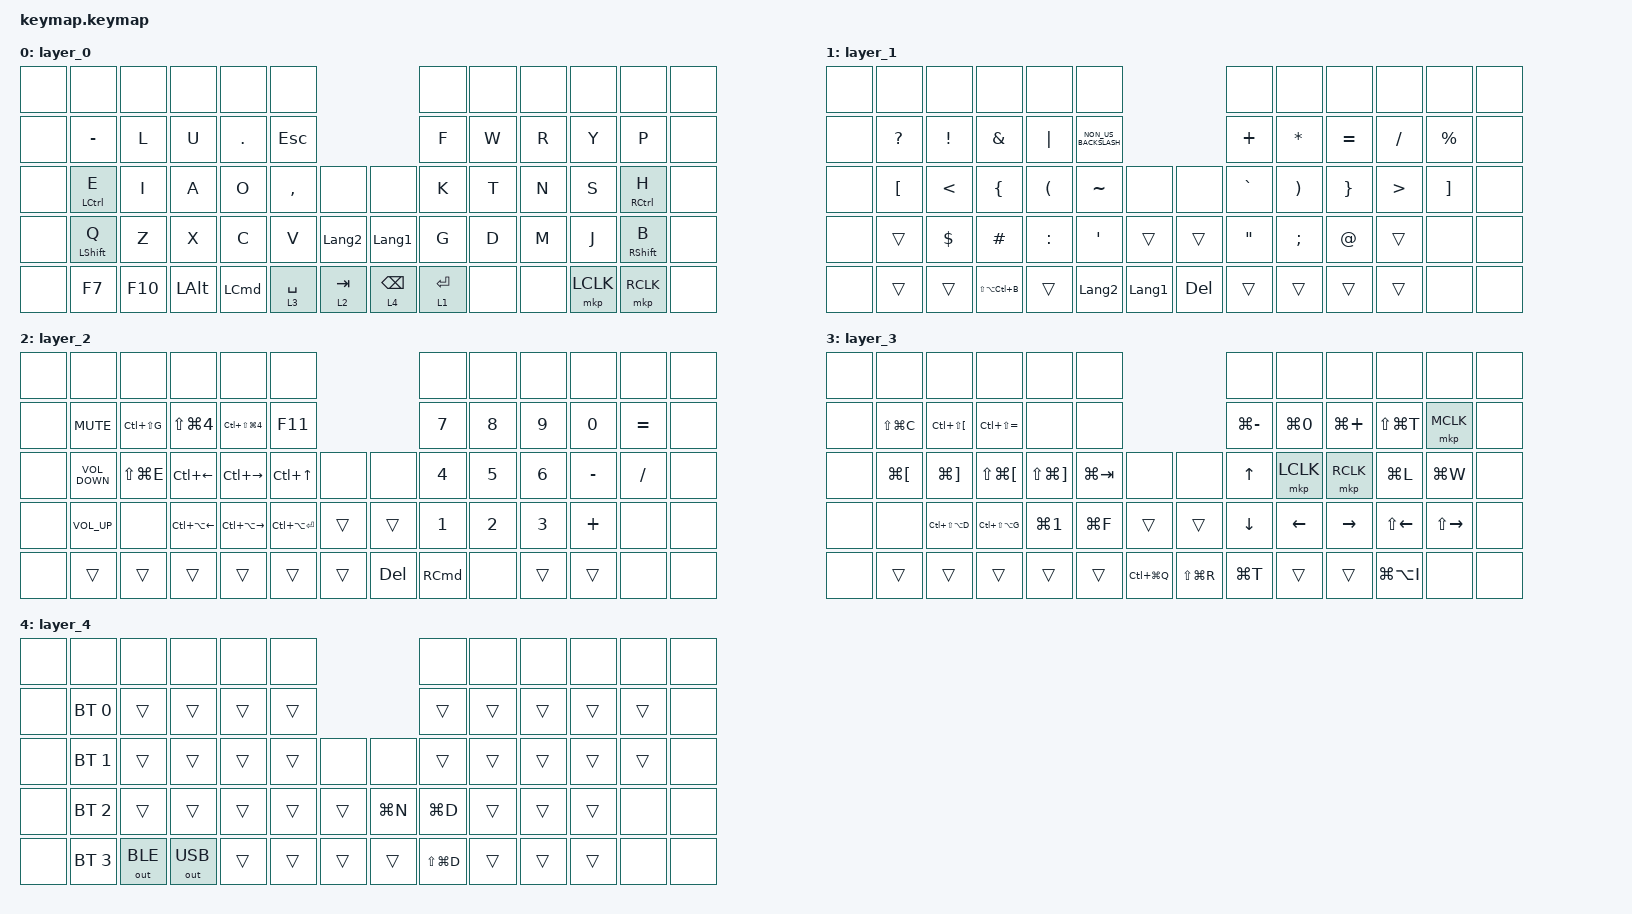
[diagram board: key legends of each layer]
#include <behaviors.dtsi>
#include <dt-bindings/zmk/bt.h>
#include <dt-bindings/zmk/keys.h>
#include <dt-bindings/zmk/outputs.h>
#include <dt-bindings/zmk/pointing.h>

/ {
    behaviors {
        mt: mod_tap {
            compatible = "zmk,behavior-hold-tap";
            #binding-cells = <2>;
            tapping-term-ms = <200>;
            flavor = "balanced";
            quick-tap-ms = <175>;
            require-prior-idle-ms = <150>;
            bindings = <&kp>, <&kp>;
        };
    };

combos {
        compatible = "zmk,combos";

        bt_clear {
            bindings = <&bt BT_CLR>;
            key-positions = <54 55>;
            layers = <4>;
        };
    };

    keymap {
        compatible = "zmk,keymap";

        layer_0 {
            bindings = <
&none  &none             &none    &none             &none             &none                                       &none        &none  &none  &none      &none              &none
&none  &kp MINUS         &kp L    &kp U             &kp PERIOD        &kp ESC                                     &kp F        &kp W  &kp R  &kp Y      &kp P              &none
&none  &mt LCTRL E       &kp I    &kp A             &kp O             &kp COMMA      &none          &none         &kp K        &kp T  &kp N  &kp S      &mt RCTRL H        &none
&none  &mt LEFT_SHIFT Q  &kp Z    &kp X             &kp C             &kp V          &kp LANGUAGE_2 &kp LANGUAGE_1 &kp G       &kp D  &kp M  &kp J      &mt RIGHT_SHIFT B  &none
&none  &kp F7            &kp F10  &kp LEFT_ALT      &kp LEFT_COMMAND  &lt 3 SPACE    &lt 2 TAB      &lt 4 BACKSPACE &lt 1 ENTER &none &none  &mkp LCLK  &mkp RCLK          &none
            >;
        };

        layer_1 {
            bindings = <
&none  &none            &none            &none              &none                 &none                                          &none              &none                  &none            &none             &none              &none
&none  &kp QUESTION     &kp EXCLAMATION  &kp AMPERSAND      &kp PIPE              &kp NON_US_BACKSLASH                           &kp PLUS           &kp ASTERISK           &kp EQUAL        &kp SLASH         &kp PERCENT        &none
&none  &kp LEFT_BRACKET &kp LESS_THAN    &kp LEFT_BRACE     &kp LEFT_PARENTHESIS  &kp TILDE              &none       &none       &kp GRAVE          &kp RIGHT_PARENTHESIS  &kp RIGHT_BRACE  &kp GREATER_THAN  &kp RIGHT_BRACKET  &none
&none  &trans           &kp DOLLAR       &kp HASH           &kp COLON             &kp SQT                &trans      &trans      &kp DOUBLE_QUOTES  &kp SEMICOLON          &kp AT_SIGN      &trans            &none              &none
&none  &trans           &trans           &kp LS(LA(LC(B)))  &trans                &kp LANGUAGE_2         &kp LANGUAGE_1 &kp DELETE &trans            &trans                 &trans           &trans            &none              &none
            >;
        };

        layer_2 {
            bindings = <
&none  &none              &none          &none             &none                &none                                    &none              &none         &none         &none         &none      &none
&none  &kp C_MUTE         &kp LC(LS(G))  &kp LS(LG(N4))   &kp LC(LS(LG(N4)))  &kp F11                                  &kp NUMBER_7       &kp NUMBER_8  &kp NUMBER_9  &kp NUMBER_0  &kp EQUAL  &none
&none  &kp C_VOLUME_DOWN  &kp LS(LG(E))  &kp LC(LEFT)      &kp LC(RIGHT)       &kp LC(UP)          &none   &none        &kp NUMBER_4       &kp NUMBER_5  &kp NUMBER_6  &kp MINUS     &kp SLASH  &none
&none  &kp C_VOLUME_UP    &none          &kp LC(LA(LEFT))  &kp LC(LA(RIGHT))   &kp LC(LA(ENTER))   &trans  &trans       &kp NUMBER_1       &kp NUMBER_2  &kp NUMBER_3  &kp PLUS      &none      &none
&none  &trans             &trans         &trans            &trans              &trans              &trans  &kp DELETE   &kp RIGHT_COMMAND  &none         &trans        &trans        &none      &none
            >;
        };

        layer_3 {
            bindings = <
&none  &none          &none               &none               &none             &none                                     &none           &none             &none            &none               &none          &none
&none  &kp LS(LG(C))  &kp LC(LS(LBKT))    &kp LC(LS(EQUAL))   &none             &none                                  &kp LG(MINUS)   &kp LG(NUMBER_0)  &kp LG(PLUS)     &kp LS(LG(T))       &mkp MCLK  &none
&none  &kp LG(LBKT)   &kp LG(RBKT)               &kp LS(LG(LBKT))    &kp LS(LG(RBKT))  &kp LG(TAB)       &none   &none          &kp UP_ARROW    &mkp LCLK         &mkp RCLK        &kp LG(L)           &kp LG(W)      &none
&none  &none          &kp LC(LS(LA(D)))   &kp LC(LS(LA(G)))    &kp LG(N1)        &kp LG(F)         &trans  &trans         &kp DOWN_ARROW  &kp LEFT_ARROW    &kp RIGHT_ARROW  &kp LS(LEFT_ARROW)  &kp LS(RIGHT_ARROW)  &none
&none  &trans         &trans              &trans               &trans            &trans            &kp LC(LG(Q)) &kp LS(LG(R)) &kp LG(T) &trans           &trans           &kp LG(LA(I))       &none          &none
            >;
        };

        layer_4 {
            bindings = <
&none  &none         &none         &none         &none         &none                          &none   &none   &none   &none   &none   &none
&none  &bt BT_SEL 0  &trans        &trans        &trans        &trans                       &trans  &trans  &trans  &trans  &trans  &none
&none  &bt BT_SEL 1  &trans        &trans        &trans        &trans        &none   &none    &trans  &trans  &trans  &trans  &trans  &none
&none  &bt BT_SEL 2  &trans        &trans        &trans        &trans        &trans  &kp LG(N)   &kp LG(D)  &trans  &trans  &trans  &none   &none
&none  &bt BT_SEL 3  &out OUT_BLE  &out OUT_USB  &trans        &trans        &trans  &trans   &kp LS(LG(D))  &trans  &trans  &trans  &none   &none
            >;
        };
    };
};
